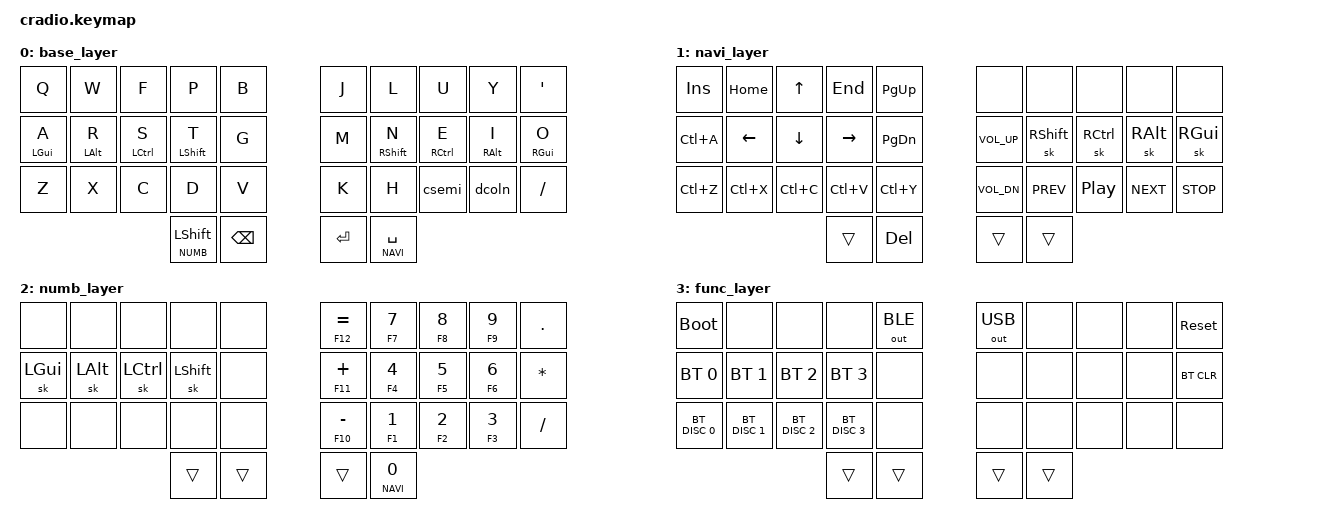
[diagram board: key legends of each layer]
/*
 * Copyright (c) 2021 The ZMK Contributors
 *
 * SPDX-License-Identifier: MIT
 */

#include <behaviors.dtsi>
#include <dt-bindings/zmk/keys.h>
#include <dt-bindings/zmk/bt.h>
#include <dt-bindings/zmk/outputs.h>

#define BASE 0
#define NAVI 1
#define NUMB 2
#define FUNC 3
 
&caps_word {
    continue-list = <UNDERSCORE MINUS>;
};

&lt {
    tapping-term-ms = <150>;
    flavor = "tap-preferred";
};

&sk {
     release-after-ms = <750>;
     quick-release;
};

/ {
    behaviors {
        hk: held_key {
            compatible = "zmk,behavior-hold-tap";
            #binding-cells = <2>;
            bindings = <&kp>, <&kp>;
            flavor = "tap-preferred";
            tapping-term-ms = <300>;
            quick-tap-ms = <175>;
            require-prior-idle-ms = <150>;
        };
        skq: sticky_key_quick_release {
            compatible = "zmk,behavior-sticky-key";
            #binding-cells = <1>;
            bindings = <&kp>;
            release-after-ms = <500>;
            quick-release;
            ignore-modifiers;
        };
        hml: homerow_modsl {
            compatible = "zmk,behavior-hold-tap";
            #binding-cells = <2>;
            bindings = <&kp>, <&kp>;
            flavor = "balanced";
            tapping-term-ms = <300>;
            quick-tap-ms = <175>;
            require-prior-idle-ms = <275>;
            hold-trigger-key-positions = <0 1 2 3 4 10 11 12 13 14 20 21 22 23 24 30 31>;
            hold-trigger-on-release;
        };
        hmr: homerow_modsr {
            compatible = "zmk,behavior-hold-tap";
            #binding-cells = <2>;
            bindings = <&kp>, <&kp>;
            flavor = "balanced";
            tapping-term-ms = <300>;
            quick-tap-ms = <175>;
            require-prior-idle-ms = <275>;
            hold-trigger-key-positions = <5 6 7 8 9 15 16 17 18 19 25 26 27 28 29 32 33>;
            hold-trigger-on-release;
        };
        sft_caps: shift_capsword {
            compatible = "zmk,behavior-tap-dance";
            #binding-cells = <0>;
            tapping-term-ms = <200>;
            bindings = <&skq LSHIFT>, <&caps_word>;
        };
        csemi: comma_semicolon {
            compatible = "zmk,behavior-mod-morph";
            #binding-cells = <0>;
            bindings = <&kp COMMA>, <&kp SEMI>;
            mods = <(MOD_LSFT|MOD_RSFT)>;
        };
        dcoln: dot_colon {
            compatible = "zmk,behavior-mod-morph";
            #binding-cells = <0>;
            bindings = <&kp DOT>, <&kp SEMI>;
            mods = <(MOD_LSFT|MOD_RSFT)>;
            keep-mods = <(MOD_LSFT|MOD_RSFT)>;
        };
    };

    combos {
        #include "combos.overlay"
    };

    conditional_layers {
        compatible = "zmk,conditional-layers";
        tri_layer {
            if-layers = <1 2>;
            then-layer = <3>;
        };
    };

    keymap {
        compatible = "zmk,keymap";

        base_layer {
        bindings = <
    &kp Q           &kp W           &kp F           &kp P           &kp B           &kp J           &kp L           &kp U           &kp Y           &kp SQT    
    &hml LGUI A     &hml LALT R     &hml LCTL S     &hml LSHIFT T   &kp G           &kp M           &hmr RSHIFT N   &hmr RCTL E     &hmr RALT I     &hmr RGUI O
    &kp Z           &kp X           &kp C           &kp D           &kp V           &kp K           &kp H           &csemi          &dcoln          &kp FSLH   
                                                    &lt NUMB LSHIFT &kp BSPC        &kp ENTER       &lt NAVI SPACE
        >;
        };
        navi_layer {
        bindings = <
    &kp INS         &kp HOME        &kp UP          &kp END         &kp PG_UP       &none           &none           &none           &none           &none
    &kp LC(A)       &kp LEFT        &kp DOWN        &kp RIGHT       &kp PG_DN       &kp C_VOL_UP    &sk RSHIFT      &sk RCTL        &sk RALT        &sk RGUI      
    &kp LC(Z)       &kp LC(X)       &kp LC(C)       &kp LC(V)       &kp LC(Y)       &kp C_VOL_DN    &kp C_PREV      &kp C_PP        &kp C_NEXT      &kp C_STOP
                                                    &trans          &kp DEL         &trans          &trans
        >;
        };
        numb_layer {
        bindings = <
    &none           &none           &none           &none           &none           &hk F12 EQUAL   &hk F7 N7       &hk F8 N8       &hk F9 N9       &kp DOT
    &sk LGUI        &sk LALT        &sk LCTL        &sk LSHIFT      &none           &hk F11 PLUS    &hk F4 N4       &hk F5 N5       &hk F6 N6       &kp ASTRK
    &none           &none           &none           &none           &none           &hk F10 MINUS   &hk F1 N1       &hk F2 N2       &hk F3 N3       &kp FSLH
                                                    &trans          &trans          &trans          &lt NAVI N0
        >;
        };
        func_layer {
                        bindings = <
    &bootloader     &none           &none           &none           &out OUT_BLE    &out OUT_USB    &none           &none           &none           &sys_reset
    &bt BT_SEL 0    &bt BT_SEL 1    &bt BT_SEL 2    &bt BT_SEL 3    &none           &none           &none           &none           &none           &bt BT_CLR
    &bt BT_DISC 0   &bt BT_DISC 1   &bt BT_DISC 2   &bt BT_DISC 3   &none           &none           &none           &none           &none           &none
                                                    &trans          &trans          &trans          &trans
        >;
        };
    };
};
